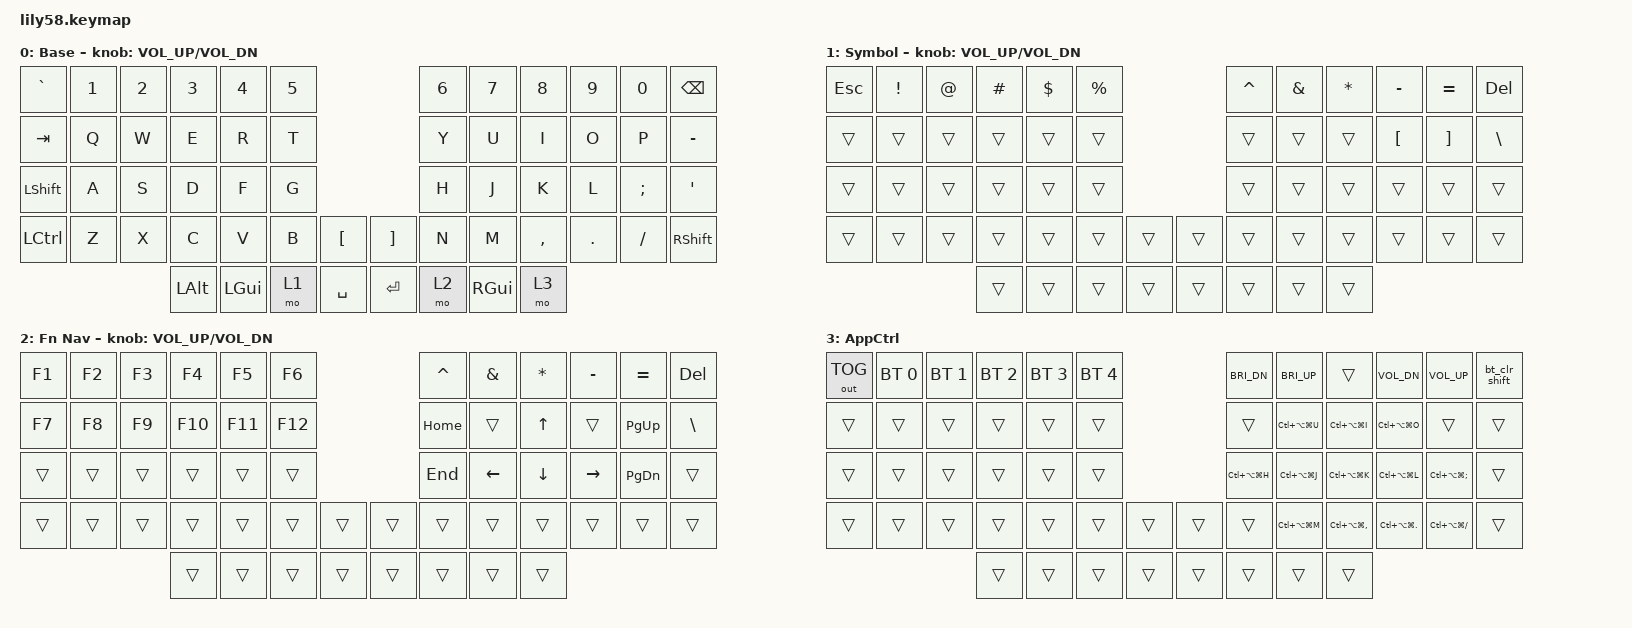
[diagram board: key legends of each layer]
/*
 * Copyright (c) 2020 The ZMK Contributors
 *
 * SPDX-License-Identifier: MIT
 */

#include <behaviors.dtsi>
#include <dt-bindings/zmk/bt.h>
#include <dt-bindings/zmk/keys.h>
#include <dt-bindings/zmk/outputs.h>

/ {
    behaviors {
        bt_clr_shift: bt_clr_shift {
            compatible = "zmk,behavior-mod-morph";
            #binding-cells = <0>;
            bindings = <&none>, <&bt BT_CLR>;

            mods = <(MOD_LSFT|MOD_RSFT)>;
        };
    };

    keymap {
        compatible = "zmk,keymap";

        default_layer {
            // ------------------------------------------------------------------------------------------------------------
            // |  GRAVE  |  1  |  2  |  3   |  4   |  5   |                    |  6   |  7   |   8   |  9   |   0   | BSPC  |
            // |  TAB    |  Q  |  W  |  E   |  R   |  T   |                    |  Y   |  U   |   I   |  O   |   P   |   -   |
            // | SHIFT   |  A  |  S  |  D   |  F   |  G   |                    |  H   |  J   |   K   |  L   |   ;   |   '   |
            // |  CTRL   |  Z  |  X  |  C   |  V   |  B   |  [    |    |   ]   |  N   |  M   |   ,   |  .   |   /   | SHIFT |
            //                       | ALT  | GUI  | SYMB | SPACE |    | ENTER | FNAV | GUI  | APP   |

            display-name = "Base";
            bindings = <
&kp GRAVE  &kp N1  &kp N2  &kp N3    &kp N4    &kp N5                         &kp N6  &kp N7    &kp N8     &kp N9   &kp N0    &kp BSPC
&kp TAB    &kp Q   &kp W   &kp E     &kp R     &kp T                          &kp Y   &kp U     &kp I      &kp O    &kp P     &kp MINUS
&kp LSHFT  &kp A   &kp S   &kp D     &kp F     &kp G                          &kp H   &kp J     &kp K      &kp L    &kp SEMI  &kp SQT
&kp LCTRL  &kp Z   &kp X   &kp C     &kp V     &kp B   &kp LBKT     &kp RBKT  &kp N   &kp M     &kp COMMA  &kp DOT  &kp FSLH  &kp RSHFT
                           &kp LALT  &kp LGUI  &mo 1   &kp SPACE    &kp RET   &mo 2   &kp RGUI  &mo 3
            >;

            sensor-bindings = <&inc_dec_kp C_VOL_UP C_VOL_DN>;
        };

        symbol_layer {
            // ------------------------------------------------------------------------------------------------------------
            // |  ESC  |  !  |  @  |  #   |  $   |  %   |                   |  ^   |  &   |   *   |  -   |   =   |  DEL   |
            // |       |     |     |      |      |      |                   |      |      |       |  [   |   ]   |   \    |
            // |       |     |     |      |      |      |                   |      |      |       |      |       |        |
            // |       |     |     |      |      |      |        |  |       |      |      |       |      |       |        |
            //                     |      |      |      |        |  |       |      |      |       |

            display-name = "Symbol";
            bindings = <
&kp ESC  &kp EXCL  &kp AT  &kp HASH  &kp DLLR  &kp PRCNT                    &kp CARET  &kp AMPS  &kp ASTERISK  &kp MINUS  &kp EQUAL  &kp DEL
&trans   &trans    &trans  &trans    &trans    &trans                       &trans     &trans    &trans        &kp LBKT   &kp RBKT   &kp BSLH
&trans   &trans    &trans  &trans    &trans    &trans                       &trans     &trans    &trans        &trans     &trans     &trans
&trans   &trans    &trans  &trans    &trans    &trans     &trans    &trans  &trans     &trans    &trans        &trans     &trans     &trans
                           &trans    &trans    &trans     &trans    &trans  &trans     &trans    &trans
            >;

            sensor-bindings = <&inc_dec_kp C_VOL_UP C_VOL_DN>;
        };

        fn_nav_layer {
            // ------------------------------------------------------------------------------------------------------------
            // |  F1   |  F2  |  F3  |  F4  |  F5  |  F6  |                   |  =   |  +   |   \   |  |   |   =   |        |
            // |  F7   |  F8  |  F9  |  F10 |  F11 |  F12 |                   | HOME |      |   UP  |      | PG_UP |   \    |
            // |       |      |      |      |      |      |                   | END  | LEFT |  DOWN | RIGHT| PG_DN |        |
            // |       |      |      |      |      |      |        |  |       |      |      |       |      |       |        |
            //                       |      |      |      |        |  |       |      |      |       |

            display-name = "Fn Nav";
            bindings = <
&kp F1  &kp F2  &kp F3  &kp F4   &kp F5   &kp F6                     &kp CARET  &kp AMPS  &kp ASTERISK  &kp MINUS  &kp EQUAL  &kp DEL
&kp F7  &kp F8  &kp F9  &kp F10  &kp F11  &kp F12                    &kp HOME   &trans    &kp UP        &trans     &kp PG_UP  &kp BSLH
&trans  &trans  &trans  &trans   &trans   &trans                     &kp END    &kp LEFT  &kp DOWN      &kp RIGHT  &kp PG_DN  &trans
&trans  &trans  &trans  &trans   &trans   &trans   &trans    &trans  &trans     &trans    &trans        &trans     &trans     &trans
                        &trans   &trans   &trans   &trans    &trans  &trans     &trans    &trans
            >;

            sensor-bindings = <&inc_dec_kp C_VOL_UP C_VOL_DN>;
        };

        appcontrol_layer {
            display-name = "AppCtrl";

            // ------------------------------------------------------------------------------------------------------------
            // |       | BT1 | BT2 |  BT3 |  BT4 |  BT5 |                   | BRI- | BRI+ |       | VOL- | VOL+  | BT_CLR |
            // |       |     |     |      |      |      |                   |      |  TL  |  Top  |  TR   |      |        |
            // |       |     |     |      |      |      |                   | Prev |  Left| Center| Right| Next  |        |
            // |       |     |     |      |      |      |        |  |       |      |  BL  | Bottom|  BR   |  Max  |        |
            // |                   |      |      |      |        |  |       |      |      |       |

            bindings = <
&out OUT_TOG  &bt BT_SEL 0  &bt BT_SEL 1  &bt BT_SEL 2  &bt BT_SEL 3  &bt BT_SEL 4                    &kp C_BRI_DN       &kp C_BRI_UP       &trans                 &kp C_VOL_DN         &kp C_VOL_UP          &bt_clr_shift
&trans        &trans        &trans        &trans        &trans        &trans                          &trans             &kp LC(LA(LG(U)))  &kp LC(LA(LG(I)))      &kp LC(LA(LG(O)))    &trans                &trans
&trans        &trans        &trans        &trans        &trans        &trans                          &kp LC(LA(LG(H)))  &kp LC(LA(LG(J)))  &kp LC(LA(LG(K)))      &kp LC(LA(LG(L)))    &kp LC(LA(LG(SEMI)))  &trans
&trans        &trans        &trans        &trans        &trans        &trans        &trans    &trans  &trans             &kp LC(LA(LG(M)))  &kp LC(LA(LG(COMMA)))  &kp LC(LA(LG(DOT)))  &kp LC(LA(LG(FSLH)))  &trans
                                          &trans        &trans        &trans        &trans    &trans  &trans             &trans             &trans
            >;
        };

        extra_2 { status = "reserved"; };

        extra_3 { status = "reserved"; };
    };
};
